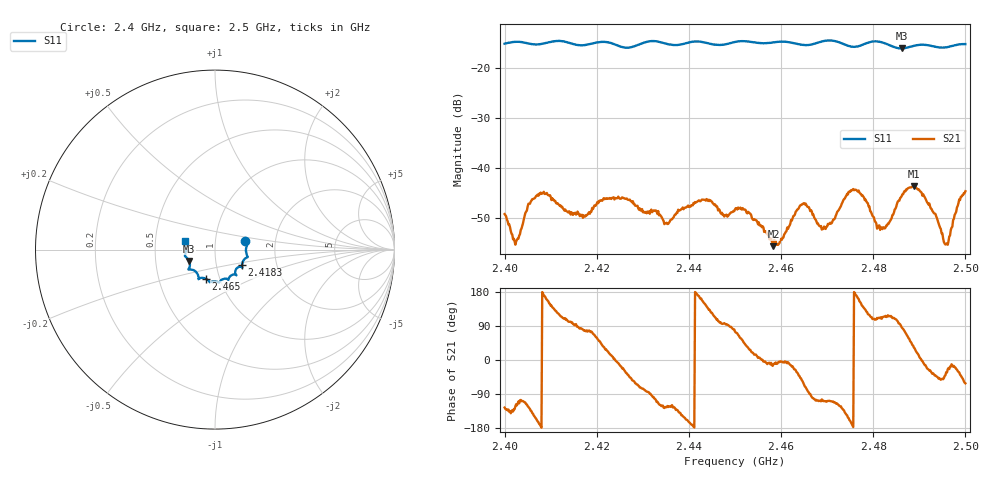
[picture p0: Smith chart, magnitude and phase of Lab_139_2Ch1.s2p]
# Hz S RI R 50
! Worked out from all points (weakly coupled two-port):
!   601 points, 2.4 GHz to 2.5 GHz, reference 50 ohm
!   highest |S21| = -43.66 dB at 2.4888 GHz (marker M1); lowest = -55.6 dB at 2.4583 GHz (marker M2)
!   lowest |S11| = -16.1 dB at 2.4862 GHz (marker M3), VSWR 1.37, Z = 37.2 - j4.8 ohm
!   |S11| at or under -10 dB: start of sweep to end of sweep
!   S12 and S22 are empty: the file has one direction only
!   S11 on the Smith chart (normalised r, x): 2.4 GHz: 1.40, +0.13; 2.4183 GHz: 1.33, -0.24; 2.465 GHz: 0.86, -0.29; 2.5 GHz: 0.71, +0.07
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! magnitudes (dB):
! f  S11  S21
! 2.4 GHz  -15.1  -49.2
! 2.4023 GHz  -14.8  -55.3
! 2.4055 GHz  -15.1  -47.1
! 2.408 GHz  -15.2  -45.2
! 2.4167 GHz  -15.4  -49.5
! 2.4183 GHz  -15.2  -48.8
! 2.4252 GHz  -15.7  -46.1
! 2.4333 GHz  -14.7  -48.6
! 2.4352 GHz  -15.2  -50.9
! 2.4433 GHz  -14.9  -46.4
! 2.45 GHz  -14.8  -48.3
! 2.4583 GHz  -14.9  -55.6
! 2.465 GHz  -15.4  -47.0
! 2.4667 GHz  -15.3  -48.6
! 2.4693 GHz  -14.6  -51.7
! 2.476 GHz  -15.8  -44.4
! 2.4812 GHz  -14.7  -51.5
! 2.4833 GHz  -15.3  -51.1
! 2.4862 GHz  -16.1  -45.6
! 2.4888 GHz  -15.5  -43.7
! 2.4958 GHz  -15.8  -55.2
! 2.5 GHz  -15.2  -44.6
